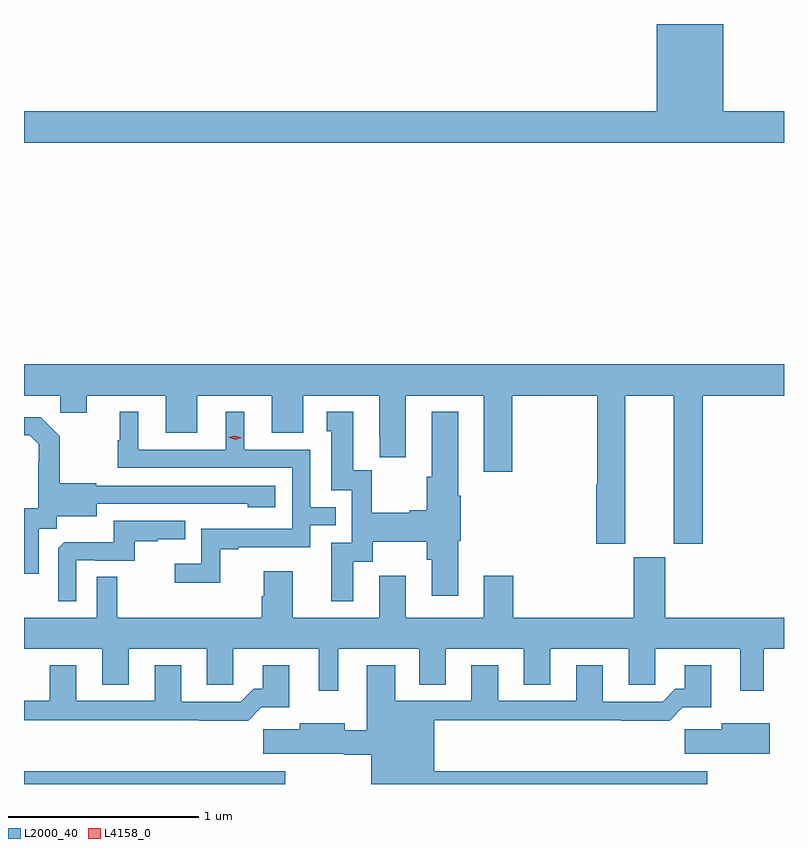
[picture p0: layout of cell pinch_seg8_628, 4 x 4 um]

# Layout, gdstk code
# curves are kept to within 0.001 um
import gdstk
lib = gdstk.Library(unit=1e-6, precision=1e-09)
def R(c, l, rs):  # rectangles x0, y0, x1, y1
    for r in rs: c.add(gdstk.rectangle(r[:2], r[2:], *l))
def P(c, l, *ps):  # polygons
    for p in ps: c.add(gdstk.Polygon(p, *l))
L2000_40 = (2000, 40)
L4158_0 = (4158, 0)

pinch_seg8_628 = lib.new_cell('pinch_seg8_628')
R(pinch_seg8_628, L2000_40, [(364.706,1119.784,366.082,1119.85)])
P(pinch_seg8_628, L2000_40, [(368.706,1123.324),(368.386,1123.324),(368.386,1123.784),(368.036,1123.784),(368.036,1123.324),(364.706,1123.324),(364.706,1123.16),(368.706,1123.16)],
  [(367.87,1121.828),(368.126,1121.828),(368.126,1121.049),(368.279,1121.049),(368.279,1121.828),(368.706,1121.828),(368.706,1121.992),(364.706,1121.992),(364.706,1121.828),(364.897,1121.828),(364.897,1121.738),(365.035,1121.738),(365.035,1121.828),(365.453,1121.828),(365.453,1121.634),(365.617,1121.634),(365.617,1121.828),(366.011,1121.828),(366.011,1121.634),(366.175,1121.634),(366.175,1121.828),(366.575,1121.828),(366.575,1121.617),(366.578,1121.617),(366.578,1121.505),(366.715,1121.505),(366.715,1121.828),(367.127,1121.828),(367.127,1121.427),(367.275,1121.427),(367.275,1121.828),(367.723,1121.828),(367.723,1121.361),(367.718,1121.361),(367.718,1121.049),(367.87,1121.049)],
  [(365.739,1121.019),(365.833,1121.019),(365.833,1121.031),(366.213,1121.031),(366.213,1121.145),(366.347,1121.145),(366.347,1121.241),(366.213,1121.241),(366.213,1121.544),(365.866,1121.544),(365.866,1121.743),(365.768,1121.743),(365.768,1121.544),(365.308,1121.544),(365.308,1121.743),(365.21,1121.743),(365.21,1121.592),(365.199,1121.592),(365.199,1121.448),(366.117,1121.448),(366.117,1121.127),(365.64,1121.127),(365.64,1120.942),(365.499,1120.942),(365.499,1120.844),(365.739,1120.844)],
  [(366.439,1120.954),(366.541,1120.954),(366.541,1121.06),(366.826,1121.06),(366.826,1120.965),(366.851,1120.965),(366.851,1120.776),(366.991,1120.776),(366.991,1121.064),(367.004,1121.064),(367.004,1121.301),(366.991,1121.301),(366.991,1121.743),(366.851,1121.743),(366.851,1121.401),(366.826,1121.401),(366.826,1121.225),(366.737,1121.225),(366.737,1121.212),(366.537,1121.212),(366.537,1121.435),(366.439,1121.435),(366.439,1121.743),(366.299,1121.743),(366.299,1121.64),(366.323,1121.64),(366.323,1121.331),(366.432,1121.331),(366.432,1121.055),(366.323,1121.055),(366.323,1120.746),(366.439,1120.746)],
  [(364.783,1121.128),(364.878,1121.128),(364.878,1121.192),(365.089,1121.192),(365.089,1121.259),(365.883,1121.258),(365.883,1121.24),(366.028,1121.24),(366.028,1121.355),(365.085,1121.355),(365.085,1121.368),(364.893,1121.368),(364.893,1121.613),(364.793,1121.713),(364.706,1121.713),(364.706,1121.619),(364.737,1121.619),(364.784,1121.572),(364.784,1121.477),(364.782,1121.477),(364.782,1121.236),(364.706,1121.236),(364.706,1120.89),(364.783,1120.89)],
  [(364.98,1120.962),(365.08,1120.962),(365.08,1120.959),(365.288,1120.959),(365.288,1121.061),(365.411,1121.061),(365.411,1121.072),(365.555,1121.072),(365.555,1121.169),(365.178,1121.169),(365.178,1121.057),(364.919,1121.057),(364.887,1121.025),(364.887,1120.745),(364.98,1120.745)],
  [(366.361,1120.496),(366.785,1120.496),(366.785,1120.306),(366.925,1120.306),(366.925,1120.496),(367.337,1120.496),(367.337,1120.306),(367.477,1120.306),(367.477,1120.496),(367.889,1120.496),(367.889,1120.306),(368.028,1120.306),(368.028,1120.496),(368.477,1120.496),(368.477,1120.275),(368.599,1120.275),(368.599,1120.496),(368.706,1120.496),(368.706,1120.66),(368.08,1120.66),(368.08,1120.977),(367.916,1120.977),(367.916,1120.66),(367.28,1120.66),(367.28,1120.879),(367.127,1120.879),(367.127,1120.66),(366.715,1120.66),(366.715,1120.879),(366.575,1120.879),(366.575,1120.66),(366.121,1120.66),(366.121,1120.903),(365.969,1120.903),(365.969,1120.773),(365.957,1120.773),(365.957,1120.66),(365.197,1120.66),(365.197,1120.874),(365.088,1120.874),(365.088,1120.66),(364.706,1120.66),(364.706,1120.496),(365.117,1120.496),(365.117,1120.306),(365.257,1120.306),(365.257,1120.496),(365.669,1120.496),(365.669,1120.306),(365.808,1120.306),(365.808,1120.496),(366.257,1120.496),(366.257,1120.275),(366.361,1120.275)],
  [(368.302,1119.85),(366.865,1119.85),(366.865,1120.12),(367.849,1120.12),(367.849,1120.118),(368.105,1120.118),(368.174,1120.187),(368.323,1120.187),(368.323,1120.408),(368.183,1120.408),(368.183,1120.285),(368.134,1120.285),(368.067,1120.218),(367.753,1120.218),(367.753,1120.408),(367.613,1120.408),(367.613,1120.221),(367.201,1120.221),(367.201,1120.408),(367.061,1120.408),(367.061,1120.221),(366.661,1120.221),(366.661,1120.408),(366.509,1120.408),(366.509,1120.066),(366.394,1120.066),(366.394,1120.105),(366.158,1120.105),(366.158,1120.073),(365.964,1120.073),(365.964,1119.944),(366.39,1119.944),(366.39,1119.937),(366.533,1119.937),(366.533,1119.784),(368.302,1119.784)],
  [(365.954,1120.187),(366.103,1120.187),(366.103,1120.408),(365.963,1120.408),(365.963,1120.285),(365.914,1120.285),(365.847,1120.218),(365.533,1120.218),(365.533,1120.408),(365.393,1120.408),(365.393,1120.221),(364.981,1120.221),(364.981,1120.408),(364.841,1120.408),(364.841,1120.221),(364.706,1120.221),(364.706,1120.12),(365.629,1120.12),(365.629,1120.118),(365.885,1120.118)],
  [(368.632,1120.105),(368.378,1120.105),(368.378,1120.073),(368.184,1120.073),(368.184,1119.944),(368.632,1119.944)])
P(pinch_seg8_628, L4158_0, [(365.817,1121.597),(365.781,1121.608),(365.781,1121.608),(365.781,1121.608),(365.817,1121.617),(365.852,1121.606),(365.853,1121.606),(365.852,1121.606)])

lib.write_gds('pinch_seg8_628.gds')
